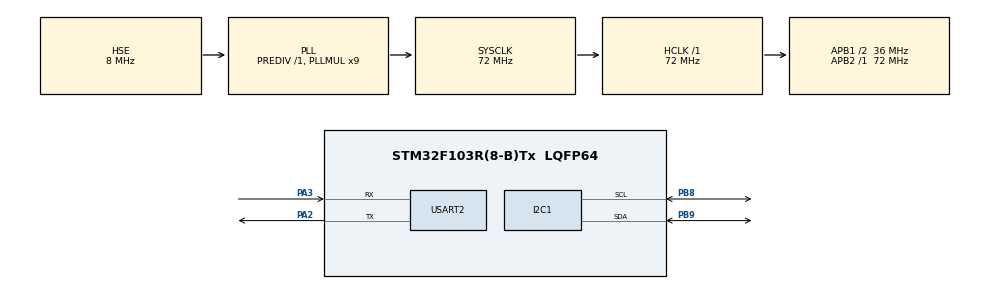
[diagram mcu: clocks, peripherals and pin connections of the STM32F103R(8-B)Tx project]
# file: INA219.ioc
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Mcu.Family=STM32F1
Mcu.Name=STM32F103R(8-B)Tx
Mcu.Package=LQFP64
NVIC.PriorityGroup=NVIC_PRIORITYGROUP_4
PA13.Mode=Serial_Wire
PA13.Signal=SYS_JTMS-SWDIO
PA14.Mode=Serial_Wire
PA14.Signal=SYS_JTCK-SWCLK
PA2.Mode=Asynchronous
PA2.Signal=USART2_TX
PA3.Mode=Asynchronous
PA3.Signal=USART2_RX
PB8.Mode=I2C
PB8.Signal=I2C1_SCL
PB9.Mode=I2C
PB9.Signal=I2C1_SDA
PD0-OSC_IN.Mode=HSE-External-Oscillator
PD0-OSC_IN.Signal=RCC_OSC_IN
PD1-OSC_OUT.Mode=HSE-External-Oscillator
PD1-OSC_OUT.Signal=RCC_OSC_OUT
ProjectManager.HeapSize=0x200
ProjectManager.StackSize=0x400
ProjectManager.TargetToolchain=MDK-ARM V5.27
RCC.AHBFreq_Value=72000000
RCC.APB1CLKDivider=RCC_HCLK_DIV2
RCC.APB1Freq_Value=36000000
RCC.APB1TimFreq_Value=72000000
RCC.APB2Freq_Value=72000000
RCC.APB2TimFreq_Value=72000000
RCC.HCLKFreq_Value=72000000
RCC.PLLMUL=RCC_PLL_MUL9
RCC.PLLSourceVirtual=RCC_PLLSOURCE_HSE
RCC.SYSCLKFreq_VALUE=72000000
RCC.SYSCLKSource=RCC_SYSCLKSOURCE_PLLCLK
RCC.USBFreq_Value=72000000
USART2.VirtualMode=VM_ASYNC
board=custom

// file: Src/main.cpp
/* USER CODE BEGIN Header */
/**
  ******************************************************************************
  * @file           : main.c
  * @brief          : Main program body
  ******************************************************************************
  * @attention
  *
  * <h2><center>&copy; Copyright (c) 2019 STMicroelectronics.
  * All rights reserved.</center></h2>
  *
  * This software component is licensed by ST under BSD 3-Clause license,
  * the "License"; You may not use this file except in compliance with the
  * License. You may obtain a copy of the License at:
  *                        opensource.org/licenses/BSD-3-Clause
  *
  ******************************************************************************
  */
/* USER CODE END Header */

#include "main.h"
#include "i2c.h"
#include "usart.h"
#include "gpio.h"

/* USER CODE BEGIN Includes */
#include "ina219.h"
/* USER CODE END Includes */

void SystemClock_Config(void);

/* USER CODE BEGIN 0 */
INA219 ina1(0x40);
INA219 ina2(0x41);
INA219 ina3(0x42);
INA219 ina4(0x43);
/* USER CODE END 0 */

int main(void)
{
  /* USER CODE BEGIN 1 */
	float bus_voltage1 = 0;
	float bus_voltage2 = 0;
	float bus_voltage3 = 0;
	float bus_voltage4 = 0;
	float shunt_voltage1 = 0;
	float shunt_voltage2 = 0;
	float shunt_voltage3 = 0;
	float shunt_voltage4 = 0;
	float power1 = 0;
	float power2 = 0;
	float power3 = 0;
	float power4 = 0;
	float current1 = 0;
	float current2 = 0;
	float current3 = 0;
	float current4 = 0;
  /* USER CODE END 1 */

  /* MCU Configuration--------------------------------------------------------*/

  /* Reset of all peripherals, Initializes the Flash interface and the Systick. */
  HAL_Init();

  /* Configure the system clock */
  SystemClock_Config();

  /* Initialize all configured peripherals */
  MX_GPIO_Init();
  MX_USART2_UART_Init();
  MX_I2C1_Init();
  /* USER CODE BEGIN 2 */
	printf("INA219 TEST !!!\r\n");
	ina1.begin();
	ina2.begin();
	ina3.begin();
	ina4.begin();

  /* USER CODE END 2 */

  /* Infinite loop */
  while (1)
  {
    bus_voltage1 = ina1.getBusVoltage_V();         // voltage on V- (load side)
    shunt_voltage1 = ina1.getShuntVoltage_mV()/1000;    // voltage between V+ and V- across the shunt
    power1 = ina1.getPower_mW()/1000;
    current1 = ina1.getCurrent_mA()/1000;               // current in mA

    bus_voltage2 = ina2.getBusVoltage_V();         // voltage on V- (load side)
    shunt_voltage2 = ina2.getShuntVoltage_mV()/1000;    // voltage between V+ and V- across the shunt
    power2 = ina2.getPower_mW()/1000;
    current2 = ina2.getCurrent_mA()/1000;               // current in mA

    bus_voltage3 = ina3.getBusVoltage_V();         // voltage on V- (load side)
    shunt_voltage3 = ina3.getShuntVoltage_mV()/1000;    // voltage between V+ and V- across the shunt
    power3 = ina3.getPower_mW()/1000;
    current3 = ina3.getCurrent_mA()/1000;               // current in mA

    bus_voltage4 = ina4.getBusVoltage_V();         // voltage on V- (load side)
    shunt_voltage4 = ina4.getShuntVoltage_mV()/1000;    // voltage between V+ and V- across the shunt
    power4 = ina4.getPower_mW()/1000;
    current4 = ina4.getCurrent_mA()/1000;               // current in mA

		//sprintf(s,"  %.1fV  %.2fV",bus,busvoltage);
		printf("PSU Voltage:%6.3fV    Shunt Voltage:%9.6fV    Load Voltage:%6.3fV    Power:%9.6fW    Current:%9.6fA\r\n",(bus_voltage1 + shunt_voltage1),(shunt_voltage1),(bus_voltage1),(power1),(current1));
		printf("PSU Voltage:%6.3fV    Shunt Voltage:%9.6fV    Load Voltage:%6.3fV    Power:%9.6fW    Current:%9.6fA\r\n",(bus_voltage2 + shunt_voltage2),(shunt_voltage2),(bus_voltage2),(power2),(current2));
		printf("PSU Voltage:%6.3fV    Shunt Voltage:%9.6fV    Load Voltage:%6.3fV    Power:%9.6fW    Current:%9.6fA\r\n",(bus_voltage3 + shunt_voltage3),(shunt_voltage3),(bus_voltage3),(power3),(current3));
		printf("PSU Voltage:%6.3fV    Shunt Voltage:%9.6fV    Load Voltage:%6.3fV    Power:%9.6fW    Current:%9.6fA\r\n",(bus_voltage4 + shunt_voltage4),(shunt_voltage4),(bus_voltage4),(power4),(current4));
    printf("\r\n");
		printf("\r\n");
		HAL_Delay(500);
  }
}

void SystemClock_Config(void)
{
  RCC_OscInitTypeDef RCC_OscInitStruct = {0};
  RCC_ClkInitTypeDef RCC_ClkInitStruct = {0};

  /** Initializes the CPU, AHB and APB busses clocks
  */
  RCC_OscInitStruct.OscillatorType = RCC_OSCILLATORTYPE_HSE;
  RCC_OscInitStruct.HSEState = RCC_HSE_ON;
  RCC_OscInitStruct.HSEPredivValue = RCC_HSE_PREDIV_DIV1;
  RCC_OscInitStruct.HSIState = RCC_HSI_ON;
  RCC_OscInitStruct.PLL.PLLState = RCC_PLL_ON;
  RCC_OscInitStruct.PLL.PLLSource = RCC_PLLSOURCE_HSE;
  RCC_OscInitStruct.PLL.PLLMUL = RCC_PLL_MUL9;
  if (HAL_RCC_OscConfig(&RCC_OscInitStruct) != HAL_OK)
  {
    Error_Handler();
  }
  /** Initializes the CPU, AHB and APB busses clocks
  */
  RCC_ClkInitStruct.ClockType = RCC_CLOCKTYPE_HCLK|RCC_CLOCKTYPE_SYSCLK
                              |RCC_CLOCKTYPE_PCLK1|RCC_CLOCKTYPE_PCLK2;
  RCC_ClkInitStruct.SYSCLKSource = RCC_SYSCLKSOURCE_PLLCLK;
  RCC_ClkInitStruct.AHBCLKDivider = RCC_SYSCLK_DIV1;
  RCC_ClkInitStruct.APB1CLKDivider = RCC_HCLK_DIV2;
  RCC_ClkInitStruct.APB2CLKDivider = RCC_HCLK_DIV1;

  if (HAL_RCC_ClockConfig(&RCC_ClkInitStruct, FLASH_LATENCY_2) != HAL_OK)
  {
    Error_Handler();
  }
}

void Error_Handler(void)
{
}

/************************ (C) COPYRIGHT STMicroelectronics *****END OF FILE****/
